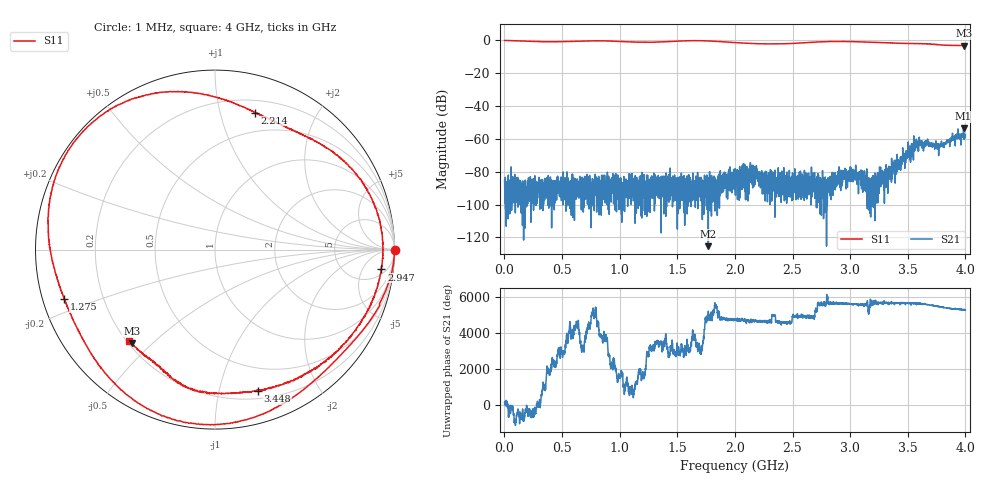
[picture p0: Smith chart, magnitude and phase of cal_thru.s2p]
!Created with skrf (http://scikit-rf.org).
# GHz S RI R 50.0
!freq ReS11 ImS11 ReS21 ImS21 ReS12 ImS12 ReS22 ImS22
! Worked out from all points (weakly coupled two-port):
!   4000 points, 1 MHz to 4 GHz, reference 50 ohm
!   highest |S21| = -53.57 dB at 3.984 GHz (marker M1); lowest = -125.3 dB at 1.769 GHz (marker M2)
!   lowest |S11| = -3.1 dB at 3.988 GHz (marker M3), VSWR 5.61, Z = 10.6 - j21.6 ohm
!   |S11| at or under -10 dB: nowhere
!   S12 and S22 are empty: the file has one direction only
!   S11 on the Smith chart (normalised r, x): 1 MHz: open; 1.275 GHz: 0.06, -0.16; 2.214 GHz: 0.31, +1.29; 2.947 GHz: 7, -13; 3.448 GHz: 0.27, -1.32; 4 GHz: 0.21, -0.43
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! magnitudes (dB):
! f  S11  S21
! 1 MHz  0.0  -85.2
! 357 MHz  -0.8  -91.9
! 668 MHz  -0.4  -96.0
! 1.275 GHz  -1.1  -94.8
! 1.334 GHz  -1.0  -82.2
! 1.769 GHz  -0.3  -125.3
! 2.001 GHz  -1.3  -86.2
! 2.082 GHz  -1.6  -81.6
! 2.214 GHz  -2.0  -84.5
! 2.667 GHz  -1.1  -95.4
! 2.947 GHz  -0.6  -82.1
! 3.334 GHz  -1.4  -84.6
! 3.384 GHz  -1.6  -73.0
! 3.448 GHz  -1.7  -71.7
! 3.586 GHz  -1.9  -66.2
! 3.665 GHz  -2.1  -63.5
! 3.771 GHz  -2.6  -64.5
! 3.817 GHz  -2.8  -63.0
! 3.916 GHz  -3.0  -57.9
! 3.984 GHz  -3.1  -53.6
! 3.988 GHz  -3.1  -58.7
! 4 GHz  -3.1  -57.8
